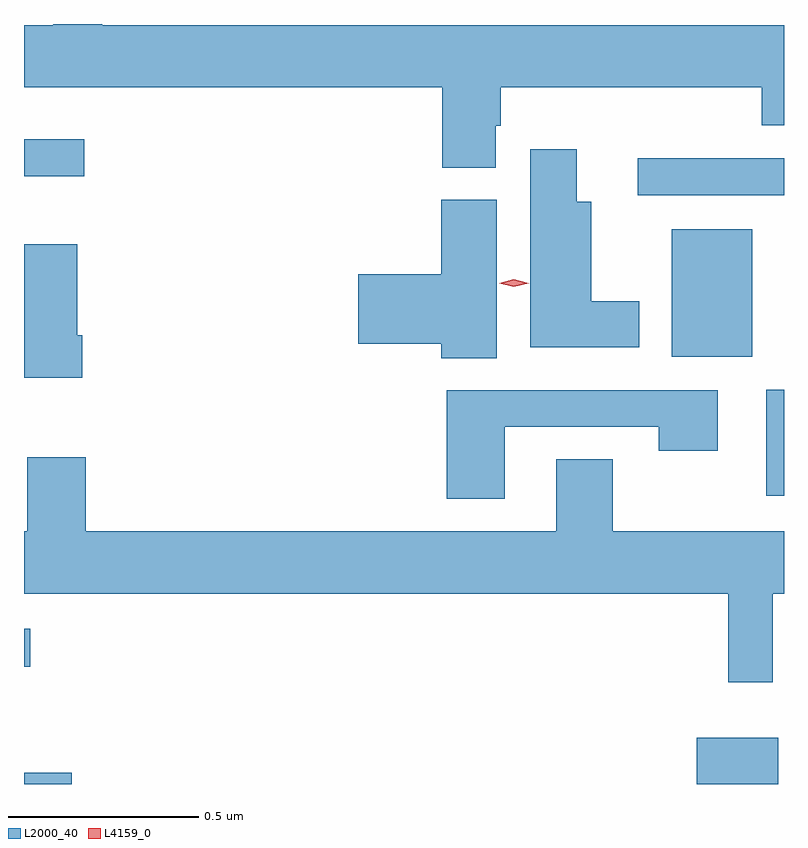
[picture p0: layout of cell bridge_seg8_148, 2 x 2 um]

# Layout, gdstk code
import gdstk
lib = gdstk.Library(unit=1e-6, precision=1e-09)
def R(c, l, rs):  # rectangles x0, y0, x1, y1
    for r in rs: c.add(gdstk.rectangle(r[:2], r[2:], *l))
def P(c, l, *ps):  # polygons
    for p in ps: c.add(gdstk.Polygon(p, *l))
L2000_40 = (2000, 40)
L4159_0 = (4159, 0)

bridge_seg8_148 = lib.new_cell('bridge_seg8_148')
R(bridge_seg8_148, L2000_40, [(514.79,1143.971,514.915,1144), (516.56,1143.971,516.775,1144.093), (514.79,1144.279,514.807,1144.38), (516.743,1144.73,516.79,1145.008), (516.494,1145.096,516.706,1145.431), (516.405,1145.52,516.79,1145.618), (514.79,1145.571,514.948,1145.668)])
P(bridge_seg8_148, L2000_40, [(516.031,1145.703),(516.044,1145.703),(516.044,1145.804),(516.731,1145.804),(516.731,1145.705),(516.79,1145.705),(516.79,1145.968),(514.996,1145.968),(514.996,1145.971),(514.867,1145.971),(514.867,1145.968),(514.79,1145.968),(514.79,1145.804),(515.891,1145.804),(515.891,1145.593),(516.031,1145.593)],
  [(516.409,1145.242),(516.283,1145.242),(516.283,1145.503),(516.244,1145.503),(516.244,1145.641),(516.122,1145.641),(516.122,1145.12),(516.409,1145.12)],
  [(516.034,1145.508),(515.888,1145.508),(515.888,1145.312),(515.67,1145.312),(515.67,1145.129),(515.888,1145.129),(515.888,1145.092),(516.034,1145.092)],
  [(514.943,1145.152),(514.93,1145.152),(514.93,1145.392),(514.79,1145.392),(514.79,1145.04),(514.943,1145.04)],
  [(516.055,1144.911),(516.46,1144.911),(516.46,1144.848),(516.616,1144.848),(516.616,1145.007),(515.903,1145.007),(515.903,1144.722),(516.055,1144.722)],
  [(516.761,1144.472),(516.79,1144.472),(516.79,1144.636),(516.339,1144.636),(516.339,1144.826),(516.191,1144.826),(516.191,1144.636),(514.952,1144.636),(514.952,1144.831),(514.799,1144.831),(514.799,1144.636),(514.79,1144.636),(514.79,1144.472),(516.643,1144.472),(516.643,1144.239),(516.761,1144.239)])
P(bridge_seg8_148, L4159_0, [(516.079,1145.279),(516.04,1145.289),(516.04,1145.289),(516.04,1145.289),(516.079,1145.299),(516.118,1145.289),(516.118,1145.289),(516.118,1145.289)])

lib.write_gds('bridge_seg8_148.gds')
